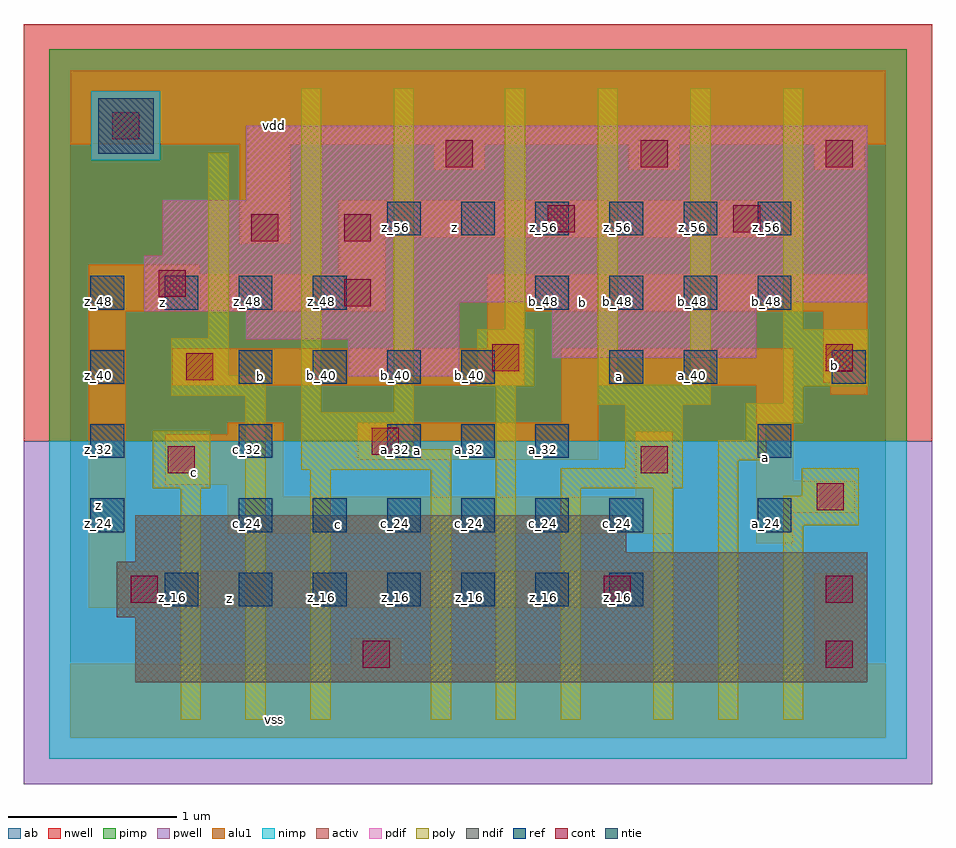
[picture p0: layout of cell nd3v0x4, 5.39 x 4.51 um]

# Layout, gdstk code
import gdstk
lib = gdstk.Library(unit=1e-6, precision=2.5e-09)
def R(c, l, rs):  # rectangles x0, y0, x1, y1
    for r in rs: c.add(gdstk.rectangle(r[:2], r[2:], *l))
def A(c, l, x, y, w, h, nx, ny, dx, dy):  # array of equal rectangles
    R(c, l, [(x+i*dx, y+j*dy, x+i*dx+w, y+j*dy+h) for i in range(nx) for j in range(ny)])
ndif = (3, 0)
pdif = (4, 0)
ntie = (5, 0)
ref = (24, 0)
cont = (25, 0)
pwell = (41, 0)
nwell = (42, 0)
activ = (43, 0)
pimp = (44, 0)
nimp = (45, 0)
poly = (46, 0)
alu1 = (49, 0)
ab = (63, 0)

nd3v0x4 = lib.new_cell('nd3v0x4')
R(nd3v0x4, ndif, [(0.385,0.33,4.73,0.715), (0.275,0.715,4.73,1.045), (0.385,1.045,4.73,1.1), (0.385,1.1,3.3,1.32)])
R(nd3v0x4, pdif, [(1.65,2.145,2.31,2.365), (2.86,2.255,4.07,2.585), (1.045,2.365,2.31,2.53), (0.44,2.53,2.31,2.585), (0.44,2.585,4.73,2.86), (0.55,2.86,4.73,3.19), (1.045,3.19,4.73,3.63)])
R(nd3v0x4, ntie, [(0.165,3.465,0.495,3.795)])
A(nd3v0x4, ref, 0.56, 0.78, 0.2, 0.2, 7, 1, 0.44, 0)
A(nd3v0x4, ref, 1, 1.22, 0.2, 0.2, 6, 1, 0.44, 0)
A(nd3v0x4, ref, 0.12, 1.66, 0.2, 0.2, 3, 1, 0.88, 0)
A(nd3v0x4, ref, 1, 2.1, 0.2, 0.2, 4, 1, 0.44, 0)
A(nd3v0x4, ref, 0.12, 2.54, 0.2, 0.2, 4, 1, 0.44, 0)
A(nd3v0x4, ref, 2.76, 2.54, 0.2, 0.2, 4, 1, 0.44, 0)
A(nd3v0x4, ref, 1.88, 2.98, 0.2, 0.2, 6, 1, 0.44, 0)
R(nd3v0x4, ref, [(0.12,1.22,0.32,1.42), (4.08,1.22,4.28,1.42), (2.32,1.66,2.52,1.86), (2.76,1.66,2.96,1.86), (4.08,1.66,4.28,1.86), (0.12,2.1,0.32,2.3), (3.2,2.1,3.4,2.3), (3.64,2.1,3.84,2.3), (4.52,2.1,4.72,2.3)])
R(nd3v0x4, cont, [(1.735,0.415,1.895,0.575), (4.485,0.415,4.645,0.575), (0.36,0.8,0.52,0.96), (3.165,0.8,3.325,0.96), (4.485,0.8,4.645,0.96), (4.43,1.35,4.59,1.51), (0.58,1.57,0.74,1.73), (3.385,1.57,3.545,1.73), (1.79,1.68,1.95,1.84), (0.69,2.12,0.85,2.28), (2.505,2.175,2.665,2.335), (4.485,2.175,4.645,2.335), (1.625,2.56,1.785,2.72), (0.525,2.615,0.685,2.775), (1.075,2.945,1.235,3.105), (1.625,2.945,1.785,3.105), (2.835,3,2.995,3.16), (3.935,3,4.095,3.16), (2.23,3.385,2.39,3.545), (3.385,3.385,3.545,3.545), (4.485,3.385,4.645,3.545), (0.25,3.55,0.41,3.71)])
R(nd3v0x4, pwell, [(-0.275,-0.275,5.115,1.76)])
R(nd3v0x4, nwell, [(-0.275,1.76,5.115,4.235)])
R(nd3v0x4, activ, [(0.385,0.33,4.73,0.715), (0.275,0.715,4.73,1.045), (0.385,1.045,4.73,1.1), (0.385,1.1,3.3,1.32), (1.65,2.145,2.31,2.365), (2.86,2.255,4.07,2.585), (1.045,2.365,2.31,2.53), (0.44,2.53,2.31,2.585), (0.44,2.585,4.73,2.86), (0.55,2.86,4.73,3.19), (1.045,3.19,4.73,3.63), (0.165,3.465,0.495,3.795)])
R(nd3v0x4, pimp, [(-0.125,1.76,4.965,3.425), (-0.125,3.425,0.125,3.835), (0.535,3.425,4.965,3.835), (-0.125,3.835,4.965,4.085)])
R(nd3v0x4, nimp, [(-0.125,-0.125,4.965,1.76), (0.125,3.425,0.535,3.835)])
R(nd3v0x4, poly, [(0.655,0.105,0.775,1.48), (1.04,0.105,1.16,2.03), (1.425,0.105,1.545,1.59), (2.14,0.105,2.26,1.59), (2.525,0.105,2.645,2.085), (2.91,0.105,3.03,1.48), (3.46,0.105,3.58,1.48), (3.845,0.105,3.965,1.645), (4.23,0.105,4.35,1.26), (4.23,1.26,4.68,1.435), (4.34,1.435,4.68,1.6), (0.49,1.48,0.83,1.82), (2.91,1.48,3.635,1.6), (1.37,1.59,2.26,1.71), (3.295,1.6,3.635,1.975), (3.845,1.645,4.13,1.765), (1.37,1.71,2.04,1.93), (4.01,1.765,4.13,1.865), (4.01,1.865,4.35,1.985), (1.37,1.93,1.49,3.855), (1.92,1.93,2.04,3.855), (3.13,1.975,3.8,2.095), (4.23,1.985,4.35,2.085), (0.6,2.03,1.16,2.15), (2.415,2.085,2.755,2.425), (4.23,2.085,4.735,2.425), (3.13,2.095,3.25,3.855), (3.68,2.095,3.8,3.855), (0.6,2.15,0.94,2.37), (0.82,2.37,0.94,3.47), (2.58,2.425,2.7,3.855), (4.23,2.425,4.35,3.855)])
R(nd3v0x4, alu1, [(0,0,4.84,0.44), (1.665,0.44,1.965,0.59), (4.415,0.44,4.715,0.975), (0.11,0.77,3.465,0.99), (0.11,0.99,0.33,2.53), (4.07,1.155,4.29,1.335), (0.935,1.21,3.575,1.43), (4.07,1.335,4.66,1.525), (0.935,1.43,1.265,1.5), (3.355,1.43,3.575,1.815), (0.565,1.5,1.265,1.8), (4.07,1.525,4.29,2.09), (1.705,1.65,3.135,1.87), (0.935,1.8,1.265,1.87), (2.915,1.87,3.135,2.09), (4.51,2.035,4.73,2.105), (0.605,2.09,2.695,2.31), (2.915,2.09,4.29,2.31), (4.47,2.105,4.73,2.53), (2.475,2.31,2.695,2.53), (0.11,2.53,1.87,2.75), (2.475,2.53,4.73,2.75), (0.11,2.75,0.77,2.805), (1.595,2.75,1.87,2.97), (1.005,2.93,1.305,3.52), (1.595,2.97,4.345,3.19), (2.16,3.37,2.46,3.52), (3.315,3.37,3.615,3.52), (4.415,3.37,4.715,3.52), (0,3.52,4.84,3.96)])
R(nd3v0x4, ab, [(0,0,4.84,3.96)])
nd3v0x4.add(gdstk.Label('vss', (1.21,0.11), layer=49, texttype=0))
nd3v0x4.add(gdstk.Label('z', (0.9475,0.825), layer=49, texttype=0))
nd3v0x4.add(gdstk.Label('a', (4.125,1.665), layer=49, texttype=0))
nd3v0x4.add(gdstk.Label('c', (1.595,1.265), layer=49, texttype=0))
nd3v0x4.add(gdstk.Label('a', (2.0625,1.705), layer=49, texttype=0))
nd3v0x4.add(gdstk.Label('c', (0.74,1.575), layer=49, texttype=0))
nd3v0x4.add(gdstk.Label('b', (4.535,2.21), layer=49, texttype=0))
nd3v0x4.add(gdstk.Label('a', (3.2575,2.145), layer=49, texttype=0))
nd3v0x4.add(gdstk.Label('b', (1.1275,2.145), layer=49, texttype=0))
nd3v0x4.add(gdstk.Label('z', (0.165,1.375), layer=49, texttype=0))
nd3v0x4.add(gdstk.Label('b', (3.0375,2.585), layer=49, texttype=0))
nd3v0x4.add(gdstk.Label('z', (0.55,2.585), layer=49, texttype=0))
nd3v0x4.add(gdstk.Label('z', (2.2825,3.025), layer=49, texttype=0))
nd3v0x4.add(gdstk.Label('vdd', (1.21,3.63), layer=49, texttype=0))
nd3v0x4.add(gdstk.Label('z_16', (0.61,0.83), layer=24, texttype=0))
nd3v0x4.add(gdstk.Label('z_48', (0.61,2.59), layer=24, texttype=0))
nd3v0x4.add(gdstk.Label('z_16', (1.05,0.83), layer=24, texttype=0))
nd3v0x4.add(gdstk.Label('c_24', (1.05,1.27), layer=24, texttype=0))
nd3v0x4.add(gdstk.Label('c_32', (1.05,1.71), layer=24, texttype=0))
nd3v0x4.add(gdstk.Label('b_40', (1.05,2.15), layer=24, texttype=0))
nd3v0x4.add(gdstk.Label('z_48', (1.05,2.59), layer=24, texttype=0))
nd3v0x4.add(gdstk.Label('z_16', (1.49,0.83), layer=24, texttype=0))
nd3v0x4.add(gdstk.Label('c_24', (1.49,1.27), layer=24, texttype=0))
nd3v0x4.add(gdstk.Label('b_40', (1.49,2.15), layer=24, texttype=0))
nd3v0x4.add(gdstk.Label('z_48', (1.49,2.59), layer=24, texttype=0))
nd3v0x4.add(gdstk.Label('z_16', (1.93,0.83), layer=24, texttype=0))
nd3v0x4.add(gdstk.Label('c_24', (1.93,1.27), layer=24, texttype=0))
nd3v0x4.add(gdstk.Label('a_32', (1.93,1.71), layer=24, texttype=0))
nd3v0x4.add(gdstk.Label('b_40', (1.93,2.15), layer=24, texttype=0))
nd3v0x4.add(gdstk.Label('z_56', (1.93,3.03), layer=24, texttype=0))
nd3v0x4.add(gdstk.Label('z_24', (0.17,1.27), layer=24, texttype=0))
nd3v0x4.add(gdstk.Label('z_32', (0.17,1.71), layer=24, texttype=0))
nd3v0x4.add(gdstk.Label('z_40', (0.17,2.15), layer=24, texttype=0))
nd3v0x4.add(gdstk.Label('z_48', (0.17,2.59), layer=24, texttype=0))
nd3v0x4.add(gdstk.Label('z_16', (2.37,0.83), layer=24, texttype=0))
nd3v0x4.add(gdstk.Label('c_24', (2.37,1.27), layer=24, texttype=0))
nd3v0x4.add(gdstk.Label('a_32', (2.37,1.71), layer=24, texttype=0))
nd3v0x4.add(gdstk.Label('b_40', (2.37,2.15), layer=24, texttype=0))
nd3v0x4.add(gdstk.Label('z_56', (2.37,3.03), layer=24, texttype=0))
nd3v0x4.add(gdstk.Label('z_16', (2.81,0.83), layer=24, texttype=0))
nd3v0x4.add(gdstk.Label('c_24', (2.81,1.27), layer=24, texttype=0))
nd3v0x4.add(gdstk.Label('a_32', (2.81,1.71), layer=24, texttype=0))
nd3v0x4.add(gdstk.Label('b_48', (2.81,2.59), layer=24, texttype=0))
nd3v0x4.add(gdstk.Label('z_56', (2.81,3.03), layer=24, texttype=0))
nd3v0x4.add(gdstk.Label('z_16', (3.25,0.83), layer=24, texttype=0))
nd3v0x4.add(gdstk.Label('c_24', (3.25,1.27), layer=24, texttype=0))
nd3v0x4.add(gdstk.Label('a_40', (3.25,2.15), layer=24, texttype=0))
nd3v0x4.add(gdstk.Label('b_48', (3.25,2.59), layer=24, texttype=0))
nd3v0x4.add(gdstk.Label('z_56', (3.25,3.03), layer=24, texttype=0))
nd3v0x4.add(gdstk.Label('a_40', (3.69,2.15), layer=24, texttype=0))
nd3v0x4.add(gdstk.Label('b_48', (3.69,2.59), layer=24, texttype=0))
nd3v0x4.add(gdstk.Label('z_56', (3.69,3.03), layer=24, texttype=0))
nd3v0x4.add(gdstk.Label('a_24', (4.13,1.27), layer=24, texttype=0))
nd3v0x4.add(gdstk.Label('a_32', (4.13,1.71), layer=24, texttype=0))
nd3v0x4.add(gdstk.Label('b_48', (4.13,2.59), layer=24, texttype=0))
nd3v0x4.add(gdstk.Label('z_56', (4.13,3.03), layer=24, texttype=0))
nd3v0x4.add(gdstk.Label('b_40', (4.57,2.15), layer=24, texttype=0))

lib.write_gds('nd3v0x4.gds')
